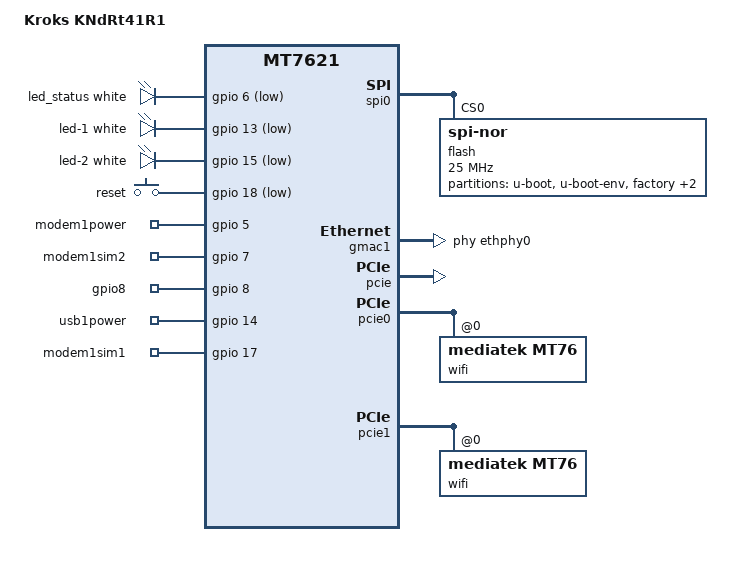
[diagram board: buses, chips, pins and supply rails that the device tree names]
/dts-v1/;

#include "mt7621.dtsi"

#include <dt-bindings/input/input.h>
#include <dt-bindings/gpio/gpio.h>
#include <dt-bindings/leds/common.h>

/ {
	compatible = "kroks,kndrt41r1", "mediatek,mt7621-soc";
	model = "Kroks KNdRt41R1";

	aliases {
		label-mac-device = &gmac0;
		led-boot = &led_status;
		led-failsafe = &led_status;
		led-running = &led_status;
		led-upgrade = &led_status;
	};

	chosen {
		bootargs = "console=ttyS0,57600";
	};

	gpio-leds {
		compatible = "gpio-leds";

		led_status: led-0 {
			color = <LED_COLOR_ID_WHITE>;
			function = LED_FUNCTION_STATUS;
			gpios = <&gpio 6 GPIO_ACTIVE_LOW>;
		};

		led-1 {
			color = <LED_COLOR_ID_WHITE>;
			function = LED_FUNCTION_WLAN_2GHZ;
			gpios = <&gpio 13 GPIO_ACTIVE_LOW>;
			linux,default-trigger = "phy0tpt";
		};

		led-2 {
			color = <LED_COLOR_ID_WHITE>;
			function = LED_FUNCTION_WLAN_5GHZ;
			gpios = <&gpio 15 GPIO_ACTIVE_LOW>;
			linux,default-trigger = "phy1tpt";
		};
	};

	gpio-keys {
		compatible = "gpio-keys";

		button-reset {
			label = "reset";
			linux,code = <KEY_RESTART>;
			gpios = <&gpio 18 GPIO_ACTIVE_LOW>;
		};
	};

	gpio_export {
		compatible = "gpio-export";
		#size-cells = <0>;

		modem1power {
			gpio-export,name = "modem1power";
			gpio-export,output = <1>;
			gpios = <&gpio 5 GPIO_ACTIVE_HIGH>;
		};

		modem1sim2 {
			gpio-export,name = "modem1sim2";
			gpio-export,output = <0>;
			gpios = <&gpio 7 GPIO_ACTIVE_HIGH>;
		};

		/* unused */
		gpio8 {
			gpio-export,name = "gpio8";
			gpios = <&gpio 8 GPIO_ACTIVE_HIGH>;
		};

		usb1power {
			gpio-export,name = "usb1power";
			gpio-export,output = <1>;
			gpios = <&gpio 14 GPIO_ACTIVE_HIGH>;
		};

		modem1sim1 {
			gpio-export,name = "modem1sim1";
			gpio-export,output = <1>;
			gpios = <&gpio 17 GPIO_ACTIVE_HIGH>;
		};
	};
};

&state_default {
	gpio {
		groups = "uart3", "jtag", "wdt";
		function = "gpio";
	};
};

&spi0 {
	status = "okay";

	flash@0 {
		compatible = "jedec,spi-nor";
		reg = <0>;
		spi-max-frequency = <25000000>;
		broken-flash-reset;
		m25p,fast-read;

		partitions {
			compatible = "fixed-partitions";
			#address-cells = <1>;
			#size-cells = <1>;

			partition@0 {
				label = "u-boot";
				reg = <0x0 0x30000>;
				read-only;
			};

			partition@30000 {
				label = "u-boot-env";
				reg = <0x30000 0x10000>;
			};

			partition@40000 {
				label = "factory";
				reg = <0x40000 0x10000>;
				read-only;

				nvmem-layout {
					compatible = "fixed-layout";
					#address-cells = <1>;
					#size-cells = <1>;

					eeprom_factory_0: eeprom@0 {
						reg = <0x0 0x400>;
					};

					macaddr_factory_28: macaddr@28 {
						reg = <0x28 0x6>;
					};

					macaddr_factory_2e: macaddr@2e {
						reg = <0x2e 0x6>;
					};

					eeprom_factory_8000: eeprom@8000 {
						reg = <0x8000 0x4da8>;
					};
				};
			};

			partition@50000 {
				compatible = "denx,uimage";
				label = "firmware";
				reg = <0x50000 0xeb0000>;
			};

			partition@f00000 {
				label = "memory";
				reg = <0xf00000 0x100000>;
				read-only;
			};
		};
	};
};

&ethphy0 {
	/delete-property/ interrupts;
};

&gmac0 {
	nvmem-cells = <&macaddr_factory_28>;
	nvmem-cell-names = "mac-address";
};

&gmac1 {
	status = "okay";
	label = "wan";
	phy-handle = <&ethphy0>;

	nvmem-cells = <&macaddr_factory_2e>;
	nvmem-cell-names = "mac-address";
};

&switch0 {
	ports {
		port@1 {
			status = "okay";
			label = "lan1";
		};

		port@2 {
			status = "okay";
			label = "lan2";
		};

		port@3 {
			status = "okay";
			label = "lan3";
		};
	};
};

&pcie {
	status = "okay";
};

&pcie0 {
	wifi@0,0 {
		compatible = "mediatek,mt76";
		reg = <0x0000 0 0 0 0>;
		ieee80211-freq-limit = <2400000 2500000>;
		nvmem-cells = <&eeprom_factory_0>;
		nvmem-cell-names = "eeprom";
	};
};

&pcie1 {
	wifi@0,0 {
		compatible = "mediatek,mt76";
		reg = <0x0000 0 0 0 0>;
		ieee80211-freq-limit = <5000000 6000000>;
		nvmem-cells = <&eeprom_factory_8000>;
		nvmem-cell-names = "eeprom";
	};
};
